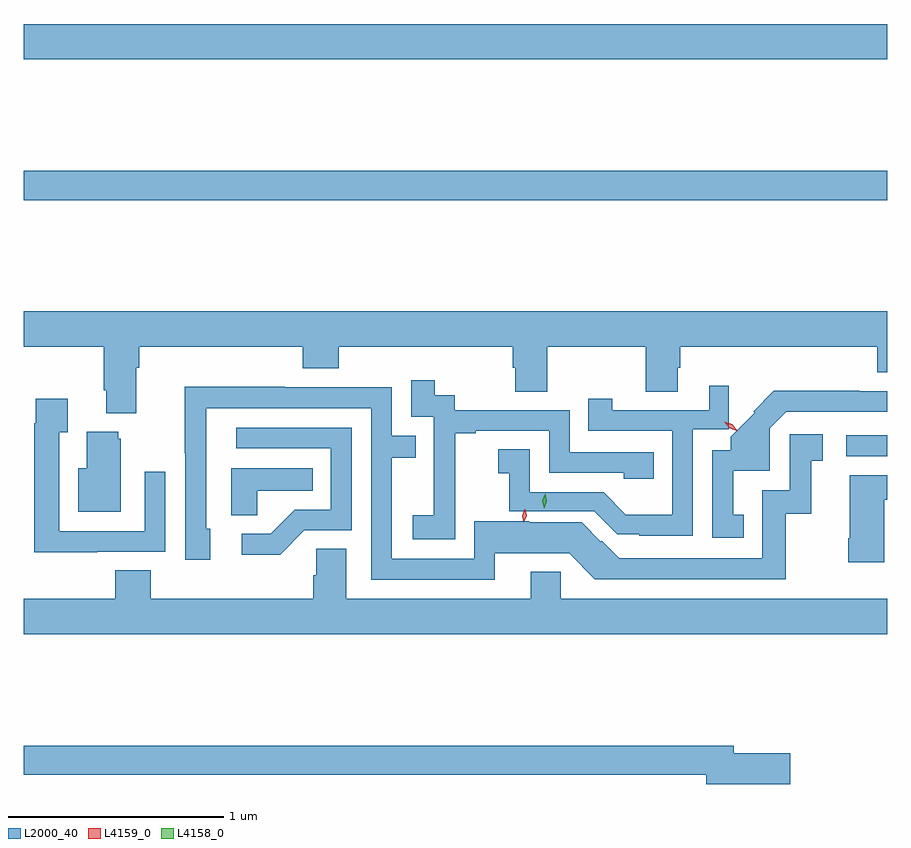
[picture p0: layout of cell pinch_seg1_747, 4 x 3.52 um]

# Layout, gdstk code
import gdstk
lib = gdstk.Library(unit=1e-6, precision=1e-09)
def R(c, l, rs):  # rectangles x0, y0, x1, y1
    for r in rs: c.add(gdstk.rectangle(r[:2], r[2:], *l))
def P(c, l, *ps):  # polygons
    for p in ps: c.add(gdstk.Polygon(p, *l))
L2000_40 = (2000, 40)
L4158_0 = (4158, 0)
L4159_0 = (4159, 0)

pinch_seg1_747 = lib.new_cell('pinch_seg1_747')
R(pinch_seg1_747, L2000_40, [(843.537,511.266,843.726,511.362), (839.726,512.452,843.726,512.588), (839.726,513.104,843.726,513.268)])
P(pinch_seg1_747, L2000_40, [(839.726,511.772),(840.095,511.772),(840.095,511.57),(840.107,511.57),(840.107,511.463),(840.247,511.463),(840.247,511.676),(840.26,511.676),(840.26,511.772),(841.019,511.772),(841.019,511.673),(841.184,511.673),(841.184,511.772),(841.991,511.772),(841.991,511.674),(842.003,511.674),(842.003,511.564),(842.151,511.564),(842.151,511.772),(842.608,511.772),(842.608,511.564),(842.755,511.564),(842.755,511.674),(842.768,511.674),(842.768,511.772),(843.68,511.772),(843.68,511.655),(843.726,511.655),(843.726,511.936),(839.726,511.936)],
  [(841.725,511.087),(841.724,511.087),(841.724,511.371),(841.819,511.371),(841.819,511.383),(842.16,511.383),(842.16,511.188),(842.505,511.188),(842.505,511.161),(842.645,511.161),(842.645,511.284),(842.256,511.284),(842.256,511.479),(841.722,511.479),(841.722,511.548),(841.63,511.548),(841.63,511.618),(841.521,511.618),(841.521,511.449),(841.626,511.449),(841.626,511.22),(841.625,511.22),(841.625,510.991),(841.527,510.991),(841.527,510.881),(841.725,510.881)],
  [(842.826,511.391),(842.993,511.391),(842.993,511.591),(842.903,511.591),(842.903,511.479),(842.452,511.479),(842.452,511.531),(842.341,511.531),(842.341,511.383),(842.73,511.383),(842.73,510.994),(842.516,510.994),(842.412,511.098),(842.07,511.098),(842.07,511.297),(841.923,511.297),(841.923,511.187),(841.974,511.187),(841.974,511.01),(842.37,511.01),(842.476,510.903),(842.578,510.903),(842.578,510.897),(842.826,510.897)],
  [(841.909,510.815),(842.253,510.815),(842.372,510.696),(843.256,510.696),(843.256,510.999),(843.374,510.999),(843.374,511.245),(843.427,511.245),(843.427,511.366),(843.276,511.366),(843.276,511.107),(843.147,511.107),(843.147,510.792),(842.484,510.792),(842.403,510.873),(842.399,510.869),(842.311,510.958),(842.067,510.958),(842.067,510.964),(841.812,510.964),(841.812,510.789),(841.431,510.789),(841.431,511.258),(841.541,511.258),(841.541,511.359),(841.431,511.359),(841.431,511.584),(840.935,511.584),(840.935,511.586),(840.472,511.586),(840.472,511.279),(840.474,511.279),(840.474,510.786),(840.589,510.786),(840.589,510.93),(840.57,510.93),(840.57,511.488),(841.335,511.488),(841.335,510.693),(841.909,510.693)],
  [(843.062,510.993),(843.013,510.993),(843.013,511.197),(843.183,511.197),(843.183,511.395),(843.258,511.47),(843.726,511.47),(843.726,511.566),(843.596,511.566),(843.596,511.568),(843.201,511.568),(843.106,511.472),(843.112,511.466),(843.002,511.356),(843.002,511.293),(842.916,511.293),(842.916,510.888),(843.062,510.888)],
  [(840.065,510.822),(840.381,510.822),(840.381,511.192),(840.285,511.192),(840.285,510.918),(839.889,510.918),(839.889,511.375),(839.929,511.375),(839.929,511.531),(839.781,511.531),(839.781,511.418),(839.773,511.418),(839.773,510.821),(840.065,510.821)],
  [(841.026,510.921),(841.245,510.921),(841.245,511.398),(840.711,511.398),(840.711,511.302),(841.149,511.302),(841.149,511.017),(840.98,511.017),(840.869,510.906),(840.735,510.906),(840.735,510.809),(840.913,510.809)],
  [(840.175,511.347),(840.164,511.347),(840.164,511.378),(840.017,511.378),(840.017,511.21),(839.978,511.21),(839.978,511.007),(840.175,511.007)],
  [(840.807,511.106),(841.064,511.106),(841.064,511.21),(840.686,511.21),(840.686,510.991),(840.807,510.991)],
  [(843.712,511.063),(843.726,511.063),(843.726,511.177),(843.554,511.177),(843.554,510.886),(843.547,510.886),(843.547,510.774),(843.712,510.774)],
  [(843.726,510.604),(842.213,510.604),(842.213,510.73),(842.075,510.73),(842.075,510.604),(841.219,510.604),(841.219,510.836),(841.08,510.836),(841.08,510.713),(841.067,510.713),(841.067,510.604),(840.314,510.604),(840.314,510.737),(840.149,510.737),(840.149,510.604),(839.726,510.604),(839.726,510.44),(843.726,510.44)],
  [(843.277,509.888),(843.016,509.888),(843.016,509.924),(839.726,509.924),(839.726,509.788),(842.888,509.788),(842.888,509.746),(843.277,509.746)])
P(pinch_seg1_747, L4158_0, [(842.137,511.023),(842.137,511.023),(842.129,511.058),(842.141,511.092),(842.141,511.092),(842.141,511.092),(842.149,511.057),(842.138,511.023)])
P(pinch_seg1_747, L4159_0, [(843.034,511.381),(842.997,511.395),(842.971,511.425),(842.971,511.425),(842.972,511.425),(843.008,511.412),(843.034,511.381),(843.034,511.381)],
  [(842.042,510.958),(842.042,510.958),(842.036,510.99),(842.048,511.02),(842.049,511.02),(842.049,511.02),(842.056,510.988),(842.043,510.958)])

lib.write_gds('pinch_seg1_747.gds')
